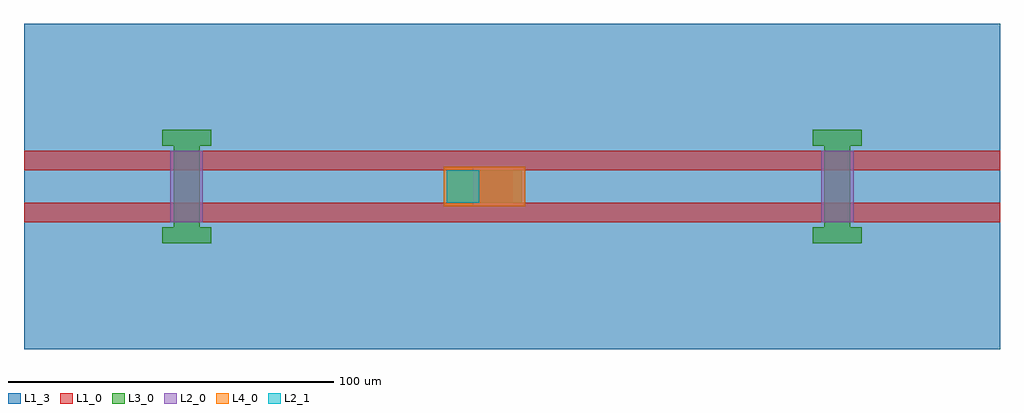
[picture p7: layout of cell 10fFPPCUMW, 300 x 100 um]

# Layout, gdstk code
import gdstk
lib = gdstk.Library(unit=1e-6, precision=1e-09)
def R(c, l, rs):  # rectangles x0, y0, x1, y1
    for r in rs: c.add(gdstk.rectangle(r[:2], r[2:], *l))
def P(c, l, *ps):  # polygons
    for p in ps: c.add(gdstk.Polygon(p, *l))
L1_0 = (1, 0)
L1_3 = (1, 3)
L2_0 = (2, 0)
L2_1 = (2, 1)
L3_0 = (3, 0)
L4_0 = (4, 0)

c_10ffppcumw = lib.new_cell('10fFPPCUMW')
P(c_10ffppcumw, L1_0, [(-150,-11),(-150,-5),(-10,-5),(-10,5),(-150,5),(-150,11),(150,11),(150,5),(0,5),(0,-5),(150,-5),(150,-11)])
R(c_10ffppcumw, L1_3, [(-150,-50,150,50), (-110,-20,-90,20), (90,-20,110,20)])
R(c_10ffppcumw, L2_1, [(-20,-5,-10,5)])
R(c_10ffppcumw, L3_0, [(-107.5,-17.5,-92.5,-12.5), (92.5,-17.5,107.5,-12.5), (-107.5,12.5,-92.5,17.5), (92.5,12.5,107.5,17.5)])
R(c_10ffppcumw, L4_0, [(-21,-6,4,6)])
c_10ffppcumw.add(gdstk.FlexPath([(-100,-11),(-100,11)], 10, ends="flush", simple_path=True, layer=2, datatype=0))  # L2_0
c_10ffppcumw.add(gdstk.FlexPath([(100,-11),(100,11)], 10, ends="flush", simple_path=True, layer=2, datatype=0))  # L2_0
c_10ffppcumw.add(gdstk.FlexPath([(-12,0),(4,0)], 12, ends="flush", simple_path=True, layer=2, datatype=0))  # L2_0
c_10ffppcumw.add(gdstk.FlexPath([(-100,-15),(-100,15)], 8, ends="flush", simple_path=True, layer=3, datatype=0))  # L3_0
c_10ffppcumw.add(gdstk.FlexPath([(100,-15),(100,15)], 8, ends="flush", simple_path=True, layer=3, datatype=0))  # L3_0
c_10ffppcumw.add(gdstk.FlexPath([(-20,0),(3,0)], 10, ends="flush", simple_path=True, layer=3, datatype=0))  # L3_0

lib.write_gds('10fFPPCUMW.gds')
